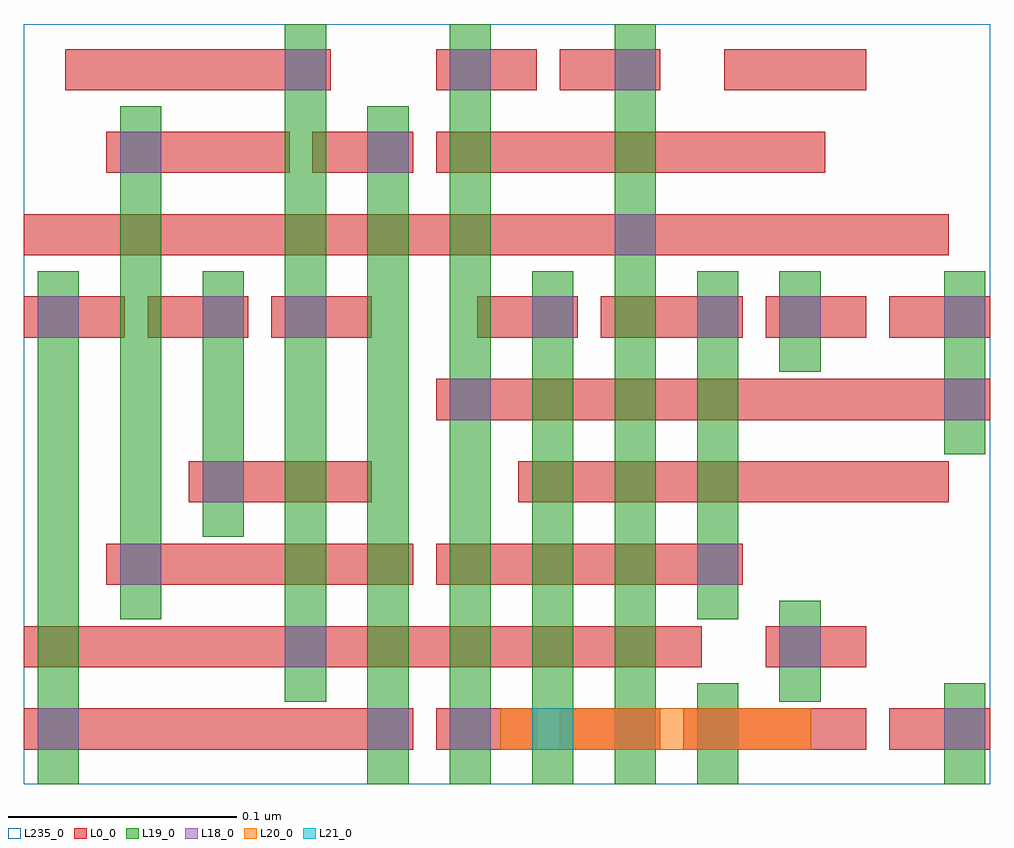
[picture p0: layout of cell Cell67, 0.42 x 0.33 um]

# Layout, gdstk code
import gdstk
lib = gdstk.Library(unit=1e-6, precision=2.5e-10)
def R(c, l, rs):  # rectangles x0, y0, x1, y1
    for r in rs: c.add(gdstk.rectangle(r[:2], r[2:], *l))
def A(c, l, x, y, w, h, nx, ny, dx, dy):  # array of equal rectangles
    R(c, l, [(x+i*dx, y+j*dy, x+i*dx+w, y+j*dy+h) for i in range(nx) for j in range(ny)])
L0_0 = (0, 0)
L18_0 = (18, 0)
L19_0 = (19, 0)
L20_0 = (20, 0)
L21_0 = (21, 0)
L235_0 = (235, 0)

cell67 = lib.new_cell('Cell67')
A(cell67, L0_0, 0.004, 0.179, 0.044, 0.018, 3, 1, 0.054, 0)
R(cell67, L0_0, [(0.004,-0.001,0.174,0.017), (0.184,-0.001,0.228,0.017), (0.238,-0.001,0.282,0.017), (0.292,-0.001,0.372,0.017), (0.382,-0.001,0.426,0.017), (0.004,0.035,0.3,0.053), (0.328,0.035,0.372,0.053), (0.04,0.071,0.174,0.089), (0.184,0.071,0.318,0.089), (0.076,0.107,0.156,0.125), (0.22,0.107,0.408,0.125), (0.184,0.143,0.426,0.161), (0.202,0.179,0.246,0.197), (0.256,0.179,0.318,0.197), (0.328,0.179,0.372,0.197), (0.382,0.179,0.426,0.197), (0.004,0.215,0.408,0.233), (0.04,0.251,0.12,0.269), (0.13,0.251,0.174,0.269), (0.184,0.251,0.354,0.269), (0.022,0.287,0.138,0.305), (0.184,0.287,0.228,0.305), (0.238,0.287,0.282,0.305), (0.31,0.287,0.372,0.305)])
A(cell67, L18_0, 0.118, 0.287, 0.018, 0.018, 3, 1, 0.072, 0)
R(cell67, L18_0, [(0.01,-0.001,0.028,0.017), (0.154,-0.001,0.172,0.017), (0.19,-0.001,0.208,0.017), (0.262,-0.001,0.28,0.017), (0.298,-0.001,0.316,0.017), (0.406,-0.001,0.424,0.017), (0.118,0.035,0.136,0.053), (0.334,0.035,0.352,0.053), (0.046,0.071,0.064,0.089), (0.298,0.071,0.316,0.089), (0.082,0.107,0.1,0.125), (0.19,0.143,0.208,0.161), (0.406,0.143,0.424,0.161), (0.01,0.179,0.028,0.197), (0.082,0.179,0.1,0.197), (0.118,0.179,0.136,0.197), (0.226,0.179,0.244,0.197), (0.298,0.179,0.316,0.197), (0.334,0.179,0.352,0.197), (0.406,0.179,0.424,0.197), (0.262,0.215,0.28,0.233), (0.046,0.251,0.064,0.269), (0.154,0.251,0.172,0.269)])
R(cell67, L19_0, [(0.01,-0.016,0.028,0.208), (0.154,-0.016,0.172,0.28), (0.19,-0.016,0.208,0.316), (0.226,-0.016,0.244,0.208), (0.262,-0.016,0.28,0.316), (0.298,-0.016,0.316,0.028), (0.406,-0.016,0.424,0.028), (0.118,0.02,0.136,0.316), (0.334,0.02,0.352,0.064), (0.046,0.056,0.064,0.28), (0.298,0.056,0.316,0.208), (0.082,0.092,0.1,0.208), (0.406,0.128,0.424,0.208), (0.334,0.164,0.352,0.208)])
R(cell67, L20_0, [(0.212,-0.001,0.348,0.017)])
R(cell67, L21_0, [(0.226,-0.001,0.244,0.017)])
R(cell67, L235_0, [(0.004,-0.016,0.426,0.316)])

lib.write_gds('Cell67.gds')
